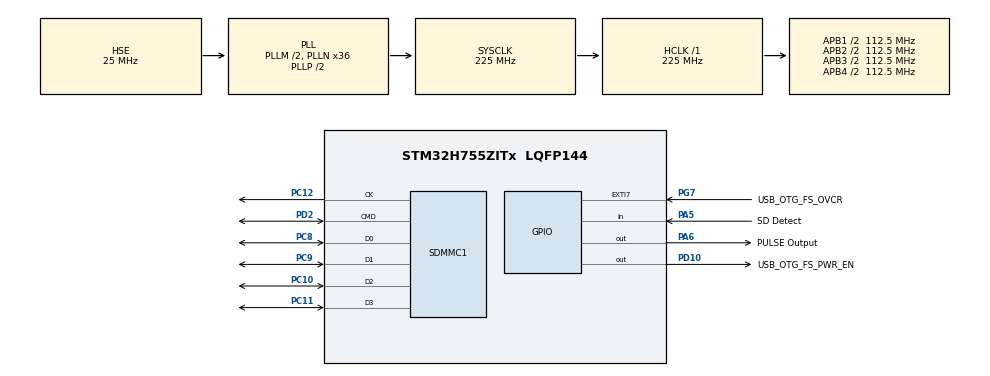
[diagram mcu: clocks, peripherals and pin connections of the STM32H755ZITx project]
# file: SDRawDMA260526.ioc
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CORTEX_M7.AccessPermission-Cortex_Memory_Protection_Unit_Region0_Settings=MPU_REGION_FULL_ACCESS
CORTEX_M7.BaseAddress-Cortex_Memory_Protection_Unit_Region0_Settings=0x24000000
CORTEX_M7.CPU_DCache=Enabled
CORTEX_M7.CPU_ICache=Enabled
CORTEX_M7.DisableExec-Cortex_Memory_Protection_Unit_Region0_Settings=MPU_INSTRUCTION_ACCESS_DISABLE
CORTEX_M7.Enable-Cortex_Memory_Protection_Unit_Region0_Settings=MPU_REGION_ENABLE
CORTEX_M7.IsBufferable-Cortex_Memory_Protection_Unit_Region0_Settings=MPU_ACCESS_NOT_BUFFERABLE
CORTEX_M7.IsShareable-Cortex_Memory_Protection_Unit_Region0_Settings=MPU_ACCESS_SHAREABLE
CORTEX_M7.MPU_Control=MPU_PRIVILEGED_DEFAULT
CORTEX_M7.Size-Cortex_Memory_Protection_Unit_Region0_Settings=MPU_REGION_SIZE_32KB
CortexM4.IPs=FATFS_M4\:I,FREERTOS_M4\:I,IWDG2\:I,RCC,WWDG2\:I,DMA,BDMA,MDMA,NVIC2\:I,DEBUG,PDM2PCM_M4\:I,PWR,RESMGR_UTILITY,SYS_M4\:I,USB_DEVICE_M4\:I,USB_HOST_M4\:I,CORTEX_M4\:I,GPIO,OPENAMP_M4\:I,VREFBUF,NUCLEO-H755ZI-Q
CortexM7.IPs=FATFS_M7\:I,FREERTOS_M7\:I,IWDG1\:I,RCC\:I,WWDG1\:I,DMA\:I,BDMA\:I,MDMA\:I,NVIC1\:I,USB_OTG_FS\:I,USB_OTG_FS1\:I,SYS\:I,CORTEX_M7\:I,DEBUG\:I,PDM2PCM_M7\:I,PWR\:I,RESMGR_UTILITY\:I,USB_DEVICE_M7\:I,USB_HOST_M7\:I,GPIO\:I,OPENAMP_M7\:I,VREFBUF\:I,NUCLEO-H755ZI-Q\:I,SDMMC1\:I
CortexM7.Pins=PA5,PA6
Mcu.Family=STM32H7
Mcu.Name=STM32H755ZITx
Mcu.Package=LQFP144
NUCLEO-H755ZI-Q.BUTTON=1
NUCLEO-H755ZI-Q.LD1=true
NUCLEO-H755ZI-Q.LD2=true
NUCLEO-H755ZI-Q.LD3=true
NUCLEO-H755ZI-Q.VCP=true
NVIC1.EXTI15_10_IRQn=true\:0\:0\:false\:false\:true\:false\:true\:true
NVIC1.PriorityGroup=NVIC_PRIORITYGROUP_4
NVIC1.SDMMC1_IRQn=true\:0\:0\:false\:false\:true\:true\:true\:true
NVIC2.PriorityGroup=NVIC_PRIORITYGROUP_4
PA1.PinAttribute=CortexM4
PA1.Signal=ETH_REF_CLK
PA11.PinAttribute=CortexM7
PA11.Signal=USB_OTG_FS_DM
PA12.PinAttribute=CortexM7
PA12.Signal=USB_OTG_FS_DP
PA2.PinAttribute=CortexM4
PA2.Signal=ETH_MDIO
PA5.GPIO_Label=SD Detect
PA5.PinAttribute=CortexM7
PA5.Signal=GPIO_Input
PA6.GPIO_Label=PULSE Output
PA6.GPIO_Speed=GPIO_SPEED_FREQ_VERY_HIGH
PA6.PinAttribute=CortexM7
PA6.Signal=GPIO_Output
PA7.PinAttribute=CortexM4
PA7.Signal=ETH_CRS_DV
PA8.PinAttribute=CortexM7
PA8.Signal=USB_OTG_FS_SOF
PA9.PinAttribute=CortexM7
PA9.Signal=USB_OTG_FS_VBUS
PB13.PinAttribute=CortexM4
PB13.Signal=ETH_TXD1
PC1.PinAttribute=CortexM4
PC1.Signal=ETH_MDC
PC10.GPIO_PuPd=GPIO_PULLUP
PC10.Mode=SD_4_bits_Wide_bus
PC10.PinAttribute=CortexM7
PC10.Signal=SDMMC1_D2
PC11.GPIO_PuPd=GPIO_PULLUP
PC11.Mode=SD_4_bits_Wide_bus
PC11.PinAttribute=CortexM7
PC11.Signal=SDMMC1_D3
PC12.GPIO_PuPd=GPIO_PULLUP
PC12.Mode=SD_4_bits_Wide_bus
PC12.PinAttribute=CortexM7
PC12.Signal=SDMMC1_CK
PC14-OSC32_IN\ (OSC32_IN).PinAttribute=Free
PC14-OSC32_IN\ (OSC32_IN).Signal=RCC_OSC32_IN
PC15-OSC32_OUT\ (OSC32_OUT).PinAttribute=Free
PC15-OSC32_OUT\ (OSC32_OUT).Signal=RCC_OSC32_OUT
PC4.PinAttribute=CortexM4
PC4.Signal=ETH_RXD0
PC5.PinAttribute=CortexM4
PC5.Signal=ETH_RXD1
PC8.GPIO_PuPd=GPIO_PULLUP
PC8.GPIO_Speed_High_Default=GPIO_SPEED_FREQ_VERY_HIGH
PC8.Mode=SD_4_bits_Wide_bus
PC8.PinAttribute=CortexM7
PC8.Signal=SDMMC1_D0
PC9.GPIO_PuPd=GPIO_PULLUP
PC9.Mode=SD_4_bits_Wide_bus
PC9.PinAttribute=CortexM7
PC9.Signal=SDMMC1_D1
PD10.GPIO_Label=USB_OTG_FS_PWR_EN
PD10.PinAttribute=Free
PD10.Signal=GPIO_Output
PD2.GPIO_PuPd=GPIO_PULLUP
PD2.Mode=SD_4_bits_Wide_bus
PD2.PinAttribute=CortexM7
PD2.Signal=SDMMC1_CMD
PD8.Signal=USART3_TX
PD9.Signal=USART3_RX
PG11.PinAttribute=CortexM4
PG11.Signal=ETH_TX_EN
PG13.PinAttribute=CortexM4
PG13.Signal=ETH_TXD0
PG7.GPIO_Label=USB_OTG_FS_OVCR
PG7.PinAttribute=Free
PG7.Signal=GPXTI7
PH0-OSC_IN\ (PH0).Mode=HSE-External-Clock-Source
PH0-OSC_IN\ (PH0).PinAttribute=Free
PH0-OSC_IN\ (PH0).Signal=RCC_OSC_IN
PH1-OSC_OUT\ (PH1).PinAttribute=Free
PH1-OSC_OUT\ (PH1).Signal=RCC_OSC_OUT
ProjectManager.HeapSize=M4-0x200,M7-0x400
ProjectManager.StackSize=M4-0x400,M7-0x1000
ProjectManager.TargetToolchain=STM32CubeIDE
RCC.ADCFreq_Value=50390625
RCC.APB1Freq_Value=112500000
RCC.APB2Freq_Value=112500000
RCC.APB3Freq_Value=112500000
RCC.APB4Freq_Value=112500000
RCC.CortexFreq_Value=225000000
RCC.D1PPRE=RCC_APB3_DIV2
RCC.D2PPRE1=RCC_APB1_DIV2
RCC.D2PPRE2=RCC_APB2_DIV2
RCC.D3PPRE=RCC_APB4_DIV2
RCC.DIVM1=2
RCC.DIVN1=36
RCC.DIVQ1=3
RCC.HCLKFreq_Value=225000000
RCC.PLL2FRACN=0
RCC.PLL3FRACN=0
RCC.PLLFRACN=0
RCC.PLLSourceVirtual=RCC_PLLSOURCE_HSE
RCC.SYSCLKFreq_VALUE=225000000
RCC.SYSCLKSource=RCC_SYSCLKSOURCE_PLLCLK
RCC.SupplySource=PWR_DIRECT_SMPS_SUPPLY
RCC.USBFreq_Value=150000000
SDMMC1.HardwareFlowControl=SDMMC_HARDWARE_FLOW_CONTROL_ENABLE
VP_NUCLEO-H755ZI-Q_VS_BSP_COMMON.Mode=COMMON
VP_SYS_M4_VS_Systick.Mode=SysTick
board=NUCLEO-H755ZI-Q

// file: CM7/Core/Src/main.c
/* USER CODE BEGIN Header */
/**
  ******************************************************************************
  * @file           : main.c
  * @brief          : Main program body
  ******************************************************************************
  * @attention
  *
  * Copyright (c) 2026 STMicroelectronics.
  * All rights reserved.
  *
  * This software is licensed under terms that can be found in the LICENSE file
  * in the root directory of this software component.
  * If no LICENSE file comes with this software, it is provided AS-IS.
  *
  ******************************************************************************
  */
/* USER CODE END Header */
#include "main.h"

/* USER CODE BEGIN Includes */
#include <string.h>
/* USER CODE END Includes */

/* USER CODE BEGIN PD */

/* DUAL_CORE_BOOT_SYNC_SEQUENCE: Define for dual core boot synchronization    */
/*                             demonstration code based on hardware semaphore */
/* This define is present in both CM7/CM4 projects                            */
/* To comment when developping/debugging on a single core                     */
//#define DUAL_CORE_BOOT_SYNC_SEQUENCE

#if defined(DUAL_CORE_BOOT_SYNC_SEQUENCE)
#ifndef HSEM_ID_0
#define HSEM_ID_0 (0U) /* HW semaphore 0*/
#endif
#endif /* DUAL_CORE_BOOT_SYNC_SEQUENCE */

/* USER CODE END PD */

COM_InitTypeDef BspCOMInit;

SD_HandleTypeDef hsd1;

/* USER CODE BEGIN PV */

#define BUFFER_SIZE_BYTES     (32 * 1024)
#define RECORD_SIZE_BYTES     64

#define SD_BLOCK_SIZE         512
#define SD_BLOCK_COUNT        (BUFFER_SIZE_BYTES / SD_BLOCK_SIZE)

#define START_SECTOR          0x1000

volatile uint8_t sd_dma_tx_done = 0;
volatile uint8_t sd_dma_tx_error = 0;

uint32_t global_record_id = 0; // 『 每一筆 』 資料索引  每一筆資料的「全球唯一流水號」
uint32_t current_file_id = 0; // 這筆資料屬於哪個 64MB 檔案 例如： file 0   file 1  file 2 ....  例如： 假設：  file_id = 5   代表：   這筆資料： 屬於：  第5個 64MB segment  之後 packaging： 你只要掃： file_id == 5 就能做成：  LOG0005.TXT

uint32_t current_chunk_count = 0;// 計算目前累積了多少個 32KB chunk   你現在： 每次 DMA：  寫入 32KB    而：  64MB   需要：  2048 次 32KB   所以：   current_chunk_count++;   代表：  目前已經寫了幾個chunk   當：  current_chunk_count >= 2048  代表： 一個64MB segment完成   然後： current_file_id++;     開始下一個檔案。

#define CHUNKS_PER_FILE   2048

#define RECORD_TAIL_MARKER   0xAA55

typedef struct
{
    uint8_t payload[54];

    uint16_t tail;

    uint32_t record_id;

    uint32_t file_id;

} log_record_t;

#define RECORD_COUNT   (BUFFER_SIZE_BYTES / sizeof(log_record_t))

uint32_t current_sector = START_SECTOR;

__attribute__((section(".RAM_D1")))
__attribute__((aligned(32)))
log_record_t sd_buffer[RECORD_COUNT]; // 寫入 SD 卡 的 buffer

__attribute__((section(".RAM_D1")))
__attribute__((aligned(32)))
log_record_t read_buffer[RECORD_COUNT]; // 讀出 SD 卡 的 buffer

/* USER CODE END PV */

void SystemClock_Config(void);
static void MPU_Config(void);
static void MX_GPIO_Init(void);
static void MX_SDMMC1_SD_Init(void);

/* USER CODE BEGIN 0 */

// 模擬方式填滿 64 byte 資料
void FillBuffer(void)
{
    uint32_t i;
    uint32_t j;

    log_record_t *record;

    for(i = 0; i < RECORD_COUNT; i++)
    {
        record = &sd_buffer[i];

        for(j = 0; j < 52; j++)
        {
            record->payload[j] =
                (uint8_t)('A' + (j % 26));
        }

        record->payload[52] = '\r';
        record->payload[53] = '\n';

        record->tail = 0xAA55;

        record->record_id = global_record_id++;

        record->file_id = current_file_id;
    }
}

// 計算 SD 卡內有機個 64M Byte
uint32_t CountSegments(uint32_t expected_segments)
{
    uint32_t segment_count = 0;

    uint32_t segment;

    uint32_t sector;

    for(segment = 0;
        segment < expected_segments;
        segment++)
    {
        sector =
            START_SECTOR +
            (segment * CHUNKS_PER_FILE * SD_BLOCK_COUNT);

        if(HAL_SD_ReadBlocks(&hsd1,
                             (uint8_t*)read_buffer,
                             sector,
                             SD_BLOCK_COUNT,
                             HAL_MAX_DELAY) != HAL_OK)
        {
            break;
        }

        SCB_InvalidateDCache_by_Addr(
            (uint32_t*)read_buffer,
            BUFFER_SIZE_BYTES
        );

        /* 只檢查 tail marker */

        if(read_buffer[0].tail != 0xAA55)
        {
            break;
        }

        segment_count++;
    }

    return segment_count;
}

/* USER CODE END 0 */

int main(void)
{

/* USER CODE BEGIN Boot_Mode_Sequence_0 */
#if defined(DUAL_CORE_BOOT_SYNC_SEQUENCE)
  int32_t timeout;
#endif /* DUAL_CORE_BOOT_SYNC_SEQUENCE */
/* USER CODE END Boot_Mode_Sequence_0 */

  /* MPU Configuration--------------------------------------------------------*/
  MPU_Config();

  /* Enable the CPU Cache */

  /* Enable I-Cache---------------------------------------------------------*/
  SCB_EnableICache();

  /* Enable D-Cache---------------------------------------------------------*/
  SCB_EnableDCache();

/* USER CODE BEGIN Boot_Mode_Sequence_1 */
#if defined(DUAL_CORE_BOOT_SYNC_SEQUENCE)
  /* Wait until CPU2 boots and enters in stop mode or timeout*/
  timeout = 0xFFFF;
  while((__HAL_RCC_GET_FLAG(RCC_FLAG_D2CKRDY) != RESET) && (timeout-- > 0));
  if ( timeout < 0 )
  {
  Error_Handler();
  }
#endif /* DUAL_CORE_BOOT_SYNC_SEQUENCE */
/* USER CODE END Boot_Mode_Sequence_1 */
  /* MCU Configuration--------------------------------------------------------*/

  /* Reset of all peripherals, Initializes the Flash interface and the Systick. */
  HAL_Init();

  /* Configure the system clock */
  SystemClock_Config();
/* USER CODE BEGIN Boot_Mode_Sequence_2 */
#if defined(DUAL_CORE_BOOT_SYNC_SEQUENCE)
/* When system initialization is finished, Cortex-M7 will release Cortex-M4 by means of
HSEM notification */
/*HW semaphore Clock enable*/
__HAL_RCC_HSEM_CLK_ENABLE();
/*Take HSEM */
HAL_HSEM_FastTake(HSEM_ID_0);
/*Release HSEM in order to notify the CPU2(CM4)*/
HAL_HSEM_Release(HSEM_ID_0,0);
/* wait until CPU2 wakes up from stop mode */
timeout = 0xFFFF;
while((__HAL_RCC_GET_FLAG(RCC_FLAG_D2CKRDY) == RESET) && (timeout-- > 0));
if ( timeout < 0 )
{
Error_Handler();
}
#endif /* DUAL_CORE_BOOT_SYNC_SEQUENCE */
/* USER CODE END Boot_Mode_Sequence_2 */

  /* Initialize all configured peripherals */
  MX_GPIO_Init();
  MX_SDMMC1_SD_Init();
  /* USER CODE BEGIN 2 */

  CoreDebug->DEMCR |= CoreDebug_DEMCR_TRCENA_Msk;
  DWT->CTRL |= DWT_CTRL_CYCCNTENA_Msk;

  /* USER CODE END 2 */

  /* Initialize leds */
  //BSP_LED_Init(LED_GREEN);
  //BSP_LED_Init(LED_YELLOW);
  //BSP_LED_Init(LED_RED);

  /* Initialize USER push-button, will be used to trigger an interrupt each time it's pressed.*/
  BSP_PB_Init(BUTTON_USER, BUTTON_MODE_EXTI);

  /* Initialize COM1 port (115200, 8 bits (7-bit data + 1 stop bit), no parity */
  BspCOMInit.BaudRate   = 115200;
  BspCOMInit.WordLength = COM_WORDLENGTH_8B;
  BspCOMInit.StopBits   = COM_STOPBITS_1;
  BspCOMInit.Parity     = COM_PARITY_NONE;
  BspCOMInit.HwFlowCtl  = COM_HWCONTROL_NONE;
  if (BSP_COM_Init(COM1, &BspCOMInit) != BSP_ERROR_NONE)
  {
    Error_Handler();
  }

  /* Infinite loop */
  /* USER CODE BEGIN WHILE */

  /*
  2048 loops = 1 個 64MB segment
  4096 loops = 2 個 64MB segment
  6144 loops = 3 個 64MB segment
  8192 loops = 4 個 64MB segment
  10240 loops = 5 個 64MB segment

  16384 loops = 8 個 64MB segment
  */

  while (1)
  {
      uint64_t loop;
      uint64_t max_loop = 16384; // 驗證過，確實會產生 8 個 Pulse 2026-05-28
      uint32_t segmentation = max_loop / 2048;

      for(loop = 0; loop < max_loop; loop++)  //可形成 4 個 64MB segmentation
      {
          FillBuffer();
          //memset(sd_buffer, 0x55, BUFFER_SIZE_BYTES);//驗證 FillBuffer(); 是否有問題之用

          SCB_CleanDCache_by_Addr((uint32_t*)sd_buffer, BUFFER_SIZE_BYTES);

          sd_dma_tx_done = 0;
          sd_dma_tx_error = 0;

          HAL_GPIO_WritePin(GPIOA, GPIO_PIN_6, GPIO_PIN_SET);//寫入到SD卡前拉高電位

          if(HAL_SD_WriteBlocks_DMA(&hsd1,
                                     (uint8_t*)sd_buffer,
                                    current_sector,
                                    SD_BLOCK_COUNT) != HAL_OK)
          {
              Error_Handler();
          }

          while((sd_dma_tx_done == 0) && (sd_dma_tx_error == 0))
          {
            /* DMA背景寫入期間 CM7持續做別的工作 本行用於證明這是非阻塞式 工作模式，當 HAL_SD_WriteBlocks_DMA 執行後， CM7 控制權可以去做其他事情，不必等待 SD 卡寫完 */
            //HAL_GPIO_TogglePin(GPIOA, GPIO_PIN_6);
          }

          // ★ 等 SD card internal write 完成（關鍵）
          while (HAL_SD_GetCardState(&hsd1) != HAL_SD_CARD_TRANSFER)
          {
          }

          HAL_GPIO_WritePin(GPIOA, GPIO_PIN_6, GPIO_PIN_RESET);// 完成SD卡寫入，電位拉低

          if(sd_dma_tx_error)
          {
              Error_Handler();
          }

          current_sector += SD_BLOCK_COUNT;

          current_chunk_count++;

          if(current_chunk_count >= CHUNKS_PER_FILE)
          {
              current_chunk_count = 0;
              current_file_id++;
          }

          //HAL_Delay(10);//不需要透過這種固定式延遲，由 while (HAL_SD_GetCardState(&hsd1) != HAL_SD_CARD_TRANSFER) 來判斷是否寫入完成
      }

      // 上面是寫入資料到 SD 卡，以 Raw data 方式，這裡是讀出 SD 卡資料。
      // 每讀出一個 64M Byte 單位，就顯示一個脈波高電位
      uint32_t segment_count;

      segment_count = CountSegments(segmentation);

      while(1)
      {
          uint32_t i;

          for(i = 0; i < segment_count; i++)
          {
              HAL_GPIO_WritePin(GPIOA,
                                GPIO_PIN_6,
                                GPIO_PIN_SET);

              HAL_Delay(1);

              HAL_GPIO_WritePin(GPIOA,
                                GPIO_PIN_6,
                                GPIO_PIN_RESET);

              HAL_Delay(1);
          }

          HAL_Delay(10);
      }

    /* USER CODE END WHILE */

  }
}

void SystemClock_Config(void)
{
  RCC_OscInitTypeDef RCC_OscInitStruct = {0};
  RCC_ClkInitTypeDef RCC_ClkInitStruct = {0};

  /** Supply configuration update enable
  */
  HAL_PWREx_ConfigSupply(PWR_DIRECT_SMPS_SUPPLY);

  /** Configure the main internal regulator output voltage
  */
  __HAL_PWR_VOLTAGESCALING_CONFIG(PWR_REGULATOR_VOLTAGE_SCALE2);

  while(!__HAL_PWR_GET_FLAG(PWR_FLAG_VOSRDY)) {}

  /** Initializes the RCC Oscillators according to the specified parameters
  * in the RCC_OscInitTypeDef structure.
  */
  RCC_OscInitStruct.OscillatorType = RCC_OSCILLATORTYPE_HSE;
  RCC_OscInitStruct.HSEState = RCC_HSE_BYPASS;
  RCC_OscInitStruct.PLL.PLLState = RCC_PLL_ON;
  RCC_OscInitStruct.PLL.PLLSource = RCC_PLLSOURCE_HSE;
  RCC_OscInitStruct.PLL.PLLM = 2;
  RCC_OscInitStruct.PLL.PLLN = 36;
  RCC_OscInitStruct.PLL.PLLP = 2;
  RCC_OscInitStruct.PLL.PLLQ = 3;
  RCC_OscInitStruct.PLL.PLLR = 2;
  RCC_OscInitStruct.PLL.PLLRGE = RCC_PLL1VCIRANGE_3;
  RCC_OscInitStruct.PLL.PLLVCOSEL = RCC_PLL1VCOWIDE;
  RCC_OscInitStruct.PLL.PLLFRACN = 0;
  if (HAL_RCC_OscConfig(&RCC_OscInitStruct) != HAL_OK)
  {
    Error_Handler();
  }

  /** Initializes the CPU, AHB and APB buses clocks
  */
  RCC_ClkInitStruct.ClockType = RCC_CLOCKTYPE_HCLK|RCC_CLOCKTYPE_SYSCLK
                              |RCC_CLOCKTYPE_PCLK1|RCC_CLOCKTYPE_PCLK2
                              |RCC_CLOCKTYPE_D3PCLK1|RCC_CLOCKTYPE_D1PCLK1;
  RCC_ClkInitStruct.SYSCLKSource = RCC_SYSCLKSOURCE_PLLCLK;
  RCC_ClkInitStruct.SYSCLKDivider = RCC_SYSCLK_DIV1;
  RCC_ClkInitStruct.AHBCLKDivider = RCC_HCLK_DIV1;
  RCC_ClkInitStruct.APB3CLKDivider = RCC_APB3_DIV2;
  RCC_ClkInitStruct.APB1CLKDivider = RCC_APB1_DIV2;
  RCC_ClkInitStruct.APB2CLKDivider = RCC_APB2_DIV2;
  RCC_ClkInitStruct.APB4CLKDivider = RCC_APB4_DIV2;

  if (HAL_RCC_ClockConfig(&RCC_ClkInitStruct, FLASH_LATENCY_4) != HAL_OK)
  {
    Error_Handler();
  }
}

static void MX_SDMMC1_SD_Init(void)
{

  hsd1.Instance = SDMMC1;
  hsd1.Init.ClockEdge = SDMMC_CLOCK_EDGE_RISING;
  hsd1.Init.ClockPowerSave = SDMMC_CLOCK_POWER_SAVE_DISABLE;
  hsd1.Init.BusWide = SDMMC_BUS_WIDE_4B;
  hsd1.Init.HardwareFlowControl = SDMMC_HARDWARE_FLOW_CONTROL_ENABLE;
  hsd1.Init.ClockDiv = 0;
  if (HAL_SD_Init(&hsd1) != HAL_OK)
  {
    Error_Handler();
  }
  /* USER CODE BEGIN SDMMC1_Init 2 */

  if (HAL_SD_ConfigWideBusOperation(&hsd1, SDMMC_BUS_WIDE_4B) != HAL_OK)
  {
      Error_Handler();
  }

  /* USER CODE END SDMMC1_Init 2 */

}

static void MX_GPIO_Init(void)
{
  GPIO_InitTypeDef GPIO_InitStruct = {0};

  /* GPIO Ports Clock Enable */
  __HAL_RCC_GPIOA_CLK_ENABLE();
  __HAL_RCC_GPIOC_CLK_ENABLE();
  __HAL_RCC_GPIOD_CLK_ENABLE();

  /*Configure GPIO pin Output Level */
  HAL_GPIO_WritePin(PULSE_Output_GPIO_Port, PULSE_Output_Pin, GPIO_PIN_RESET);

  /*Configure GPIO pin : SD_Detect_Pin */
  GPIO_InitStruct.Pin = SD_Detect_Pin;
  GPIO_InitStruct.Mode = GPIO_MODE_INPUT;
  GPIO_InitStruct.Pull = GPIO_NOPULL;
  HAL_GPIO_Init(SD_Detect_GPIO_Port, &GPIO_InitStruct);

  /*Configure GPIO pin : PULSE_Output_Pin */
  GPIO_InitStruct.Pin = PULSE_Output_Pin;
  GPIO_InitStruct.Mode = GPIO_MODE_OUTPUT_PP;
  GPIO_InitStruct.Pull = GPIO_NOPULL;
  GPIO_InitStruct.Speed = GPIO_SPEED_FREQ_VERY_HIGH;
  HAL_GPIO_Init(PULSE_Output_GPIO_Port, &GPIO_InitStruct);

  /*Configure GPIO pins : PA8 PA11 PA12 */
  GPIO_InitStruct.Pin = GPIO_PIN_8|GPIO_PIN_11|GPIO_PIN_12;
  GPIO_InitStruct.Mode = GPIO_MODE_AF_PP;
  GPIO_InitStruct.Pull = GPIO_NOPULL;
  GPIO_InitStruct.Speed = GPIO_SPEED_FREQ_LOW;
  GPIO_InitStruct.Alternate = GPIO_AF10_OTG1_FS;
  HAL_GPIO_Init(GPIOA, &GPIO_InitStruct);

}

/* USER CODE BEGIN 4 */
void HAL_SD_TxCpltCallback(SD_HandleTypeDef *hsd)
{
    sd_dma_tx_done = 1;
}

void HAL_SD_ErrorCallback(SD_HandleTypeDef *hsd)
{
    sd_dma_tx_error = 1;
}
/* USER CODE END 4 */

 /* MPU Configuration */

void MPU_Config(void)
{
  MPU_Region_InitTypeDef MPU_InitStruct = {0};

  /* Disables the MPU */
  HAL_MPU_Disable();

  /** Initializes and configures the Region and the memory to be protected
  */
  MPU_InitStruct.Enable = MPU_REGION_ENABLE;
  MPU_InitStruct.Number = MPU_REGION_NUMBER0;
  MPU_InitStruct.BaseAddress = 0x24000000;
  MPU_InitStruct.Size = MPU_REGION_SIZE_64KB; // 兼具寫與讀情況下，這裡要修改
  MPU_InitStruct.SubRegionDisable = 0x0;
  MPU_InitStruct.TypeExtField = MPU_TEX_LEVEL0;
  MPU_InitStruct.AccessPermission = MPU_REGION_FULL_ACCESS;
  MPU_InitStruct.DisableExec = MPU_INSTRUCTION_ACCESS_DISABLE;
  MPU_InitStruct.IsShareable = MPU_ACCESS_SHAREABLE;
  MPU_InitStruct.IsCacheable = MPU_ACCESS_NOT_CACHEABLE;
  MPU_InitStruct.IsBufferable = MPU_ACCESS_NOT_BUFFERABLE;

  HAL_MPU_ConfigRegion(&MPU_InitStruct);
  /* Enables the MPU */
  HAL_MPU_Enable(MPU_PRIVILEGED_DEFAULT);

}

void Error_Handler(void)
{
  __disable_irq();
  while (1)
  {
  }
}
